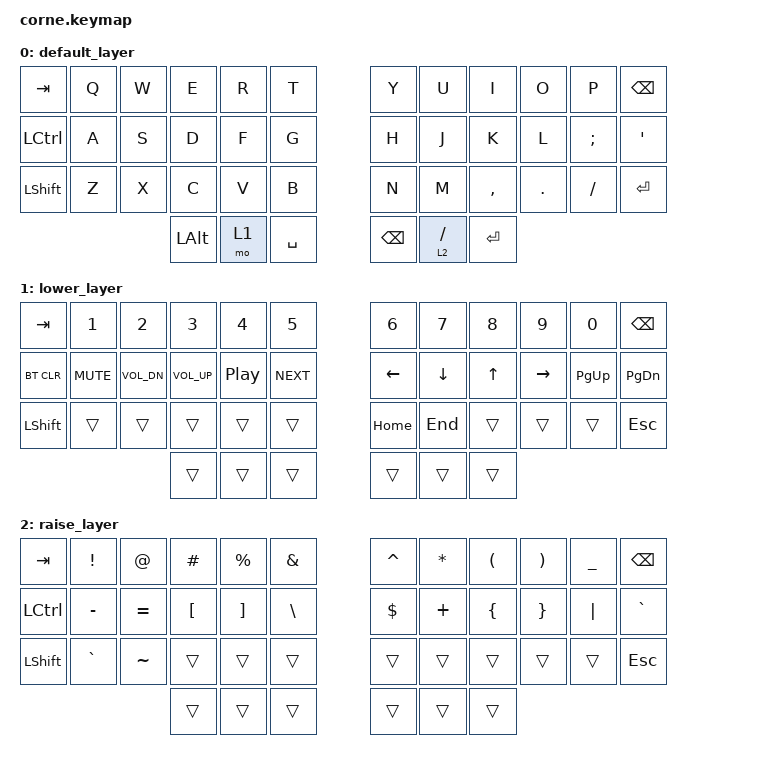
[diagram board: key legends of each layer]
/*
 * Copyright (c) 2020 The ZMK Contributors
 *
 * SPDX-License-Identifier: MIT
 */

#include <behaviors.dtsi>
#include <dt-bindings/zmk/keys.h>
#include <dt-bindings/zmk/bt.h>

/ {
    keymap {
        compatible = "zmk,keymap";

        /* ─────────────────────────────
         * BASE (default)
         *
         * | TAB |  Q |  W |  E |  R |  T |      |  Y |  U |  I |  O |  P | BSPC |
         * | CTRL|  A |  S |  D |  F |  G |      |  H |  J |  K |  L |  ; |  '  |
         * | SHFT|  Z |  X |  C |  V |  B |      |  N |  M |  , |  . |  / | ENT |
         *              | ALT | LWR | SPC |      | BSPC| RSE-flsh |  RET  |
         */
        default_layer {
            bindings = <
                &kp TAB    &kp Q &kp W &kp E &kp R &kp T        &kp Y &kp U &kp I     &kp O   &kp P    &kp BSPC
                &kp LCTRL  &kp A &kp S &kp D &kp F &kp G        &kp H &kp J &kp K     &kp L   &kp SEMI &kp SQT
                &kp LSHFT  &kp Z &kp X &kp C &kp V &kp B        &kp N &kp M &kp COMMA &kp DOT &kp FSLH &kp RET
                              &kp LALT &mo 1  &kp SPACE        &kp BSPC &lt 2 FSLH &kp RET 

            >;
        };

        /* ─────────────────────────────
         * LOWER (1) — цифри, медіа, навігація, Bluetooth
         *
         * | TAB |  1 |  2 |  3 |  4 |  5 |      |  6 |  7 |  8 |  9 |  0 | BSPC |
         * | BT  | MUTE| VOL-| VOL+| PLAY| NEXT |      | ← | ↓ | ↑ | → | PGU | PGD |
         * | SHFT|    |    |    |    |    |      | HOME| END |    |    |    | ESC |
         */
        lower_layer {
            bindings = <
                &kp TAB      &kp N1        &kp N2        &kp N3        &kp N4        &kp N5
                              &kp N6        &kp N7        &kp N8        &kp N9        &kp N0        &kp BSPC

                &bt BT_CLR   &kp C_MUTE    &kp C_VOL_DN  &kp C_VOL_UP  &kp C_PLAY_PAUSE &kp C_NEXT
                              &kp LEFT     &kp DOWN      &kp UP        &kp RIGHT     &kp PG_UP     &kp PG_DN

                &kp LSHFT    &trans        &trans        &trans        &trans        &trans
                              &kp HOME     &kp END       &trans        &trans        &trans        &kp ESC

                              &trans       &trans        &trans
                              &trans       &trans        &trans
            >;
        };

        /* ─────────────────────────────
         * RAISE (2) — символи
         *
         * | TAB |  ! |  @ |  # |  % |  & |      |  ^ |  * |  ( |  ) |  _ | BSPC |
         * | CTRL|  - |  = |  [ |  ] |  \ |      |  $ |  + |  { |  } |  | |  `  |
         * | SHFT|  ` |  ~ |    |    |    |      |    |    |    |    |    | ESC |
         */
        raise_layer {
            bindings = <
                &kp TAB     &kp EXCL   &kp AT     &kp HASH    &kp PERCENT  &kp AMPS
                              &kp CARET   &kp ASTERISK  &kp LPAR   &kp RPAR   &kp UNDER  &kp BSPC

                &kp LCTRL   &kp MINUS  &kp EQUAL  &kp LBKT    &kp RBKT     &kp BSLH
                              &kp DOLLAR  &kp PLUS       &kp LBRC   &kp RBRC   &kp PIPE   &kp GRAVE

                &kp LSHFT   &kp GRAVE  &kp TILDE  &trans      &trans       &trans
                              &trans      &trans         &trans     &trans     &trans     &kp ESC

                              &trans      &trans         &trans
                              &trans      &trans         &trans
            >;
        };
    };
};
